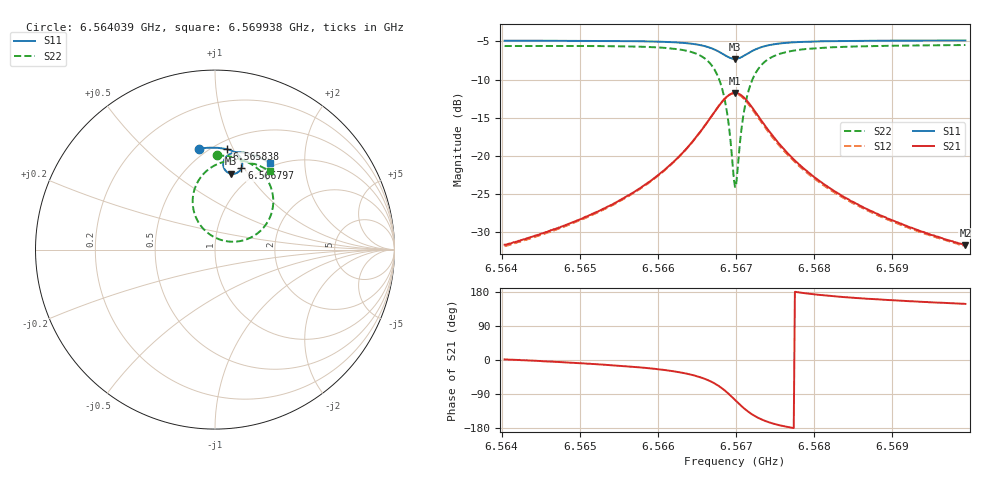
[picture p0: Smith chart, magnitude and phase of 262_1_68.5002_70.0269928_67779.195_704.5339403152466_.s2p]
#  HZ  S  RI  R  50.00
! Rohde & Schwarz Vector Network Analyzer
! Rohde-Schwarz,ZNB20-2Port,1311601062101988,3.16
! Created: UTC 3/20/2024, 5:00:17 PM
! freq[Hz]  re:S11  im:S11  re:S21  im:S21  re:S12  im:S12  re:S22  im:S22
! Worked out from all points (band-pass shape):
!   401 points, 6.564039 GHz to 6.569938 GHz, reference 50 ohm
!   highest |S21| = -11.76 dB at 6.566989 GHz (marker M1); lowest = -31.7 dB at 6.569938 GHz (marker M2)
!   |S21| within 3 dB of the highest: 6.566693 GHz to 6.567283 GHz (590.1 kHz wide, 0.00899 % of centre)
!   lowest |S11| = -7.3 dB at 6.566989 GHz (marker M3), VSWR 2.52, Z = 40.2 + j41.8 ohm
!   |S11| at or under -10 dB: nowhere
!   |S22| runs from -24.1 to -5.5 dB; largest |S21 - S12| = 0.012
!   S11 on the Smith chart (normalised r, x): 6.564039 GHz: 0.45, +0.75; 6.565838 GHz: 0.57, +0.94; 6.566797 GHz: 0.83, +0.97; 6.569938 GHz: 0.94, +1.35
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6.5640388e9  -0.0871 0.5623  0.0259 0.00078  0.0254 0.000299  0.0111 0.5247
6.565027e9  -0.00763 0.568  0.038 -0.00593  0.0375 -0.00644  0.101 0.515
6.5658382e9  0.0652 0.5597  0.0601 -0.0229  0.0592 -0.0235  0.1969 0.4794
6.5660151e9  0.0828 0.5545  0.0682 -0.0314  0.0672 -0.0322  0.2238 0.4623
6.5663249e9  0.1168 0.538  0.087 -0.059  0.0856 -0.0603  0.2792 0.4073
6.5665461e9  0.1417 0.5127  0.1005 -0.1027  0.0982 -0.1046  0.3183 0.3231
6.5666936e9  0.1522 0.4825  0.0968 -0.1552  0.0931 -0.1581  0.3197 0.2223
6.5667968e9  0.1473 0.4538  0.0711 -0.2049  0.0647 -0.2075  0.276 0.1292
6.5668853e9  0.1275 0.4304  0.02 -0.2431  0.0108 -0.2437  0.1839 0.0601
6.5669591e9  0.0996 0.4217  -0.042 -0.2538  -0.0523 -0.2501  0.0728 0.0453
6.5669886e9  0.0875 0.4228  -0.0683 -0.2491  -0.0784 -0.2438  0.0272 0.0558
6.5670181e9  0.076 0.4268  -0.0931 -0.2395  -0.1025 -0.2325  -0.0151 0.0755
6.5670771e9  0.0575 0.4415  -0.1334 -0.2084  -0.1399 -0.1989  -0.0809 0.1352
6.5671213e9  0.0493 0.456  -0.1529 -0.179  -0.157 -0.169  -0.1099 0.1884
6.5671803e9  0.0457 0.4757  -0.1653 -0.14  -0.1664 -0.1306  -0.1242 0.2579
6.5672541e9  0.0498 0.4971  -0.165 -0.0983  -0.1639 -0.0901  -0.1157 0.3303
6.567372e9  0.0657 0.5201  -0.1484 -0.0525  -0.1461 -0.0469  -0.0763 0.4074
6.5675195e9  0.0888 0.5349  -0.1237 -0.0214  -0.121 -0.018  -0.0213 0.4577
6.5679768e9  0.1474 0.5423  -0.0735 0.00783  -0.0719 0.00899  0.0978 0.4963
6.5684487e9  0.193 0.5334  -0.0496 0.0133  -0.0483 0.0137  0.1703 0.4912
6.5689649e9  0.2355 0.5184  -0.0355 0.0143  -0.0347 0.0145  0.2269 0.4754
6.5699384e9  0.3054 0.4824  -0.0219 0.0137  -0.0214 0.0137  0.3071 0.4355
